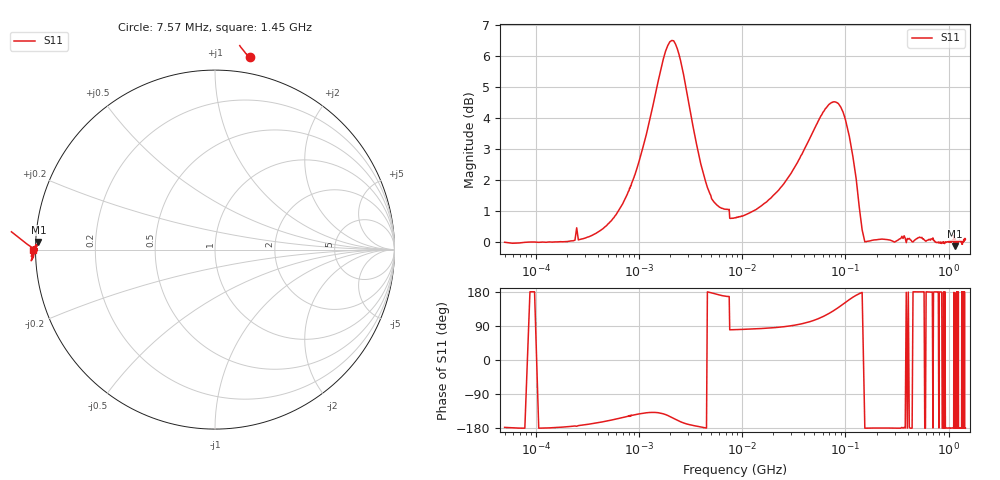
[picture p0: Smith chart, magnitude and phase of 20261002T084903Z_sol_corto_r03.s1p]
! piloto_deriva / sol_corto / r03
# HZ S RI R 50
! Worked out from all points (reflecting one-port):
!   501 points, 50 kHz to 1.45 GHz, reference 50 ohm
!   lowest |S11| = -0.1 dB at 1.144 GHz (marker M1), VSWR 130.96, Z = 0.382 + j1.09 ohm
!   phase of S11 starts at -178 deg and turns -2 deg over the sweep
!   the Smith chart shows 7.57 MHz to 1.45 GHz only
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50000  -0.9985 -0.0374
183000  -0.9997 -0.0519
363500  -1.004 -0.2235
658000  -1.014 -0.5098
1180000  -1.131 -0.9731
1630000  -1.463 -1.207
1990000  -1.803 -1.083
2170000  -1.897 -0.9241
2440000  -1.9 -0.6515
3070000  -1.636 -0.2742
4330000  -1.264 -0.0311
7300000  -1.102 0.2416
7750000  0.1943 1.074
8560000  0.1885 1.077
1.99e7  0.1023 1.184
3.16e7  -0.0335 1.312
4.69e7  -0.3234 1.454
6.76e7  -0.8602 1.418
7.93e7  -1.139 1.237
9.46e7  -1.364 0.8771
9.82e7  -1.385 0.784
1e8  -1.39 0.7387
1.18e8  -1.331 0.3391
1.36e8  -1.134 0.0991
1.63e8  -1.003 -0.00428
4.06e8  -1.011 0.0143
1.144e9  -0.9839 0.0428
1.45e9  -1.011 -0.00189
